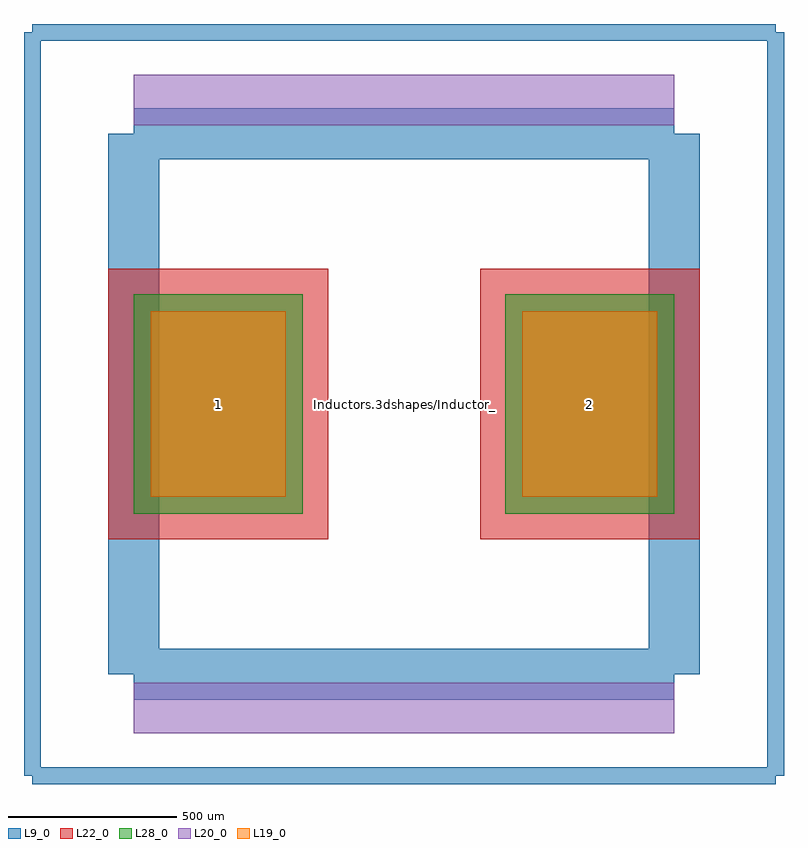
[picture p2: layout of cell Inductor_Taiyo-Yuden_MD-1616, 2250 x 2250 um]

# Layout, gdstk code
import gdstk
lib = gdstk.Library(unit=1e-6, precision=1e-09)
def R(c, l, rs):  # rectangles x0, y0, x1, y1
    for r in rs: c.add(gdstk.rectangle(r[:2], r[2:], *l))
L9_0 = (9, 0)
L19_0 = (19, 0)
L20_0 = (20, 0)
L22_0 = (22, 0)
L28_0 = (28, 0)

inductor_taiyo_yuden_md_ = lib.new_cell('Inductor_Taiyo-Yuden_MD-1616')
R(inductor_taiyo_yuden_md_, L19_0, [(-750,-275,-350,275), (350,-275,750,275)])
R(inductor_taiyo_yuden_md_, L22_0, [(-875,-400,-225,400), (225,-400,875,400)])
R(inductor_taiyo_yuden_md_, L28_0, [(-800,-325,-300,325), (300,-325,800,325)])
inductor_taiyo_yuden_md_.add(gdstk.FlexPath([(1100,1100),(-1100,1100)], 50, ends="flush", simple_path=True, layer=9, datatype=0))  # L9_0
inductor_taiyo_yuden_md_.add(gdstk.FlexPath([(1100,-1100),(1100,1100)], 50, ends="flush", simple_path=True, layer=9, datatype=0))  # L9_0
inductor_taiyo_yuden_md_.add(gdstk.FlexPath([(-1100,-1100),(1100,-1100)], 50, ends="flush", simple_path=True, layer=9, datatype=0))  # L9_0
inductor_taiyo_yuden_md_.add(gdstk.FlexPath([(-1100,1100),(-1100,-1100)], 50, ends="flush", simple_path=True, layer=9, datatype=0))  # L9_0
inductor_taiyo_yuden_md_.add(gdstk.FlexPath([(-800,-900),(800,-900)], 149.998, ends="flush", simple_path=True, layer=20, datatype=0))  # L20_0
inductor_taiyo_yuden_md_.add(gdstk.FlexPath([(-800,900),(800,900)], 149.998, ends="flush", simple_path=True, layer=20, datatype=0))  # L20_0
inductor_taiyo_yuden_md_.add(gdstk.FlexPath([(800,800),(-800,800)], 149.998, ends="flush", simple_path=True, layer=9, datatype=0))  # L9_0
inductor_taiyo_yuden_md_.add(gdstk.FlexPath([(800,-800),(800,800)], 149.998, ends="flush", simple_path=True, layer=9, datatype=0))  # L9_0
inductor_taiyo_yuden_md_.add(gdstk.FlexPath([(-800,-800),(800,-800)], 149.998, ends="flush", simple_path=True, layer=9, datatype=0))  # L9_0
inductor_taiyo_yuden_md_.add(gdstk.FlexPath([(-800,800),(-800,-800)], 149.998, ends="flush", simple_path=True, layer=9, datatype=0))  # L9_0
inductor_taiyo_yuden_md_.add(gdstk.Label('Inductors.3dshapes/Inductor_Taiyo-Yuden_MD-1616.wrl', (0,0), layer=12, texttype=0))
inductor_taiyo_yuden_md_.add(gdstk.Label('2', (550,0), layer=28, texttype=0))
inductor_taiyo_yuden_md_.add(gdstk.Label('1', (-550,0), layer=28, texttype=0))
inductor_taiyo_yuden_md_.add(gdstk.Label('type', (0,-2300), layer=9, texttype=0))
inductor_taiyo_yuden_md_.add(gdstk.Label('devicename', (0,1800), layer=9, texttype=0))

lib.write_gds('Inductor_Taiyo-Yuden_MD-1616.gds')
